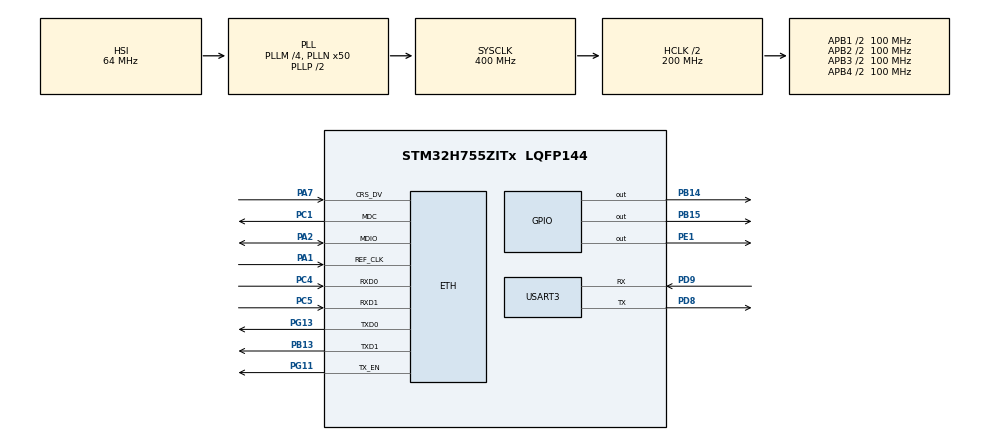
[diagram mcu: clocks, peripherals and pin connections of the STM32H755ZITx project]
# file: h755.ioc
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CortexM4.IPs=BDMA,CORTEX_M4\:I,DEBUG,DMA,FATFS_M4\:I,FREERTOS_M4\:I,GPIO,IWDG2\:I,MDMA,NVIC2\:I,OPENAMP_M4\:I,PDM2PCM_M4\:I,PWR,RCC,RESMGR_UTILITY,SYS_M4\:I,USB_DEVICE_M4\:I,USB_HOST_M4\:I,VREFBUF,WWDG2\:I
CortexM7.IPs=BDMA\:I,CORTEX_M7\:I,DEBUG\:I,DMA\:I,FATFS_M7\:I,FREERTOS_M7\:I,GPIO\:I,IWDG1\:I,MDMA\:I,NVIC1\:I,OPENAMP_M7\:I,PDM2PCM_M7\:I,PWR\:I,RCC\:I,RESMGR_UTILITY\:I,SYS\:I,USB_DEVICE_M7\:I,USB_HOST_M7\:I,VREFBUF\:I,WWDG1\:I,ETH\:I,USART3\:I,RNG\:I
ETH.MediaInterface=HAL_ETH_RMII_MODE
Mcu.Family=STM32H7
Mcu.Name=STM32H755ZITx
Mcu.Package=LQFP144
NVIC1.ETH_IRQn=true\:0\:0\:false\:false\:false\:true\:false\:true
NVIC1.PriorityGroup=NVIC_PRIORITYGROUP_4
NVIC2.PriorityGroup=NVIC_PRIORITYGROUP_4
PA1.Mode=RMII
PA1.PinAttribute=CortexM7
PA1.Signal=ETH_REF_CLK
PA2.Mode=RMII
PA2.PinAttribute=CortexM7
PA2.Signal=ETH_MDIO
PA7.Mode=RMII
PA7.PinAttribute=CortexM7
PA7.Signal=ETH_CRS_DV
PB13.Mode=RMII
PB13.PinAttribute=CortexM7
PB13.Signal=ETH_TXD1
PB14.PinAttribute=Free
PB14.Signal=GPIO_Output
PB15.PinAttribute=Free
PB15.Signal=GPIO_Output
PC1.Mode=RMII
PC1.PinAttribute=CortexM7
PC1.Signal=ETH_MDC
PC4.Mode=RMII
PC4.PinAttribute=CortexM7
PC4.Signal=ETH_RXD0
PC5.Mode=RMII
PC5.PinAttribute=CortexM7
PC5.Signal=ETH_RXD1
PD8.Mode=Asynchronous
PD8.PinAttribute=CortexM7
PD8.Signal=USART3_TX
PD9.Mode=Asynchronous
PD9.PinAttribute=CortexM7
PD9.Signal=USART3_RX
PE1.PinAttribute=Free
PE1.Signal=GPIO_Output
PG11.Mode=RMII
PG11.PinAttribute=CortexM7
PG11.Signal=ETH_TX_EN
PG13.Mode=RMII
PG13.PinAttribute=CortexM7
PG13.Signal=ETH_TXD0
ProjectManager.HeapSize=M4-0x200,M7-0x200
ProjectManager.StackSize=M4-0x400,M7-0x400
ProjectManager.TargetToolchain=STM32CubeIDE
RCC.ADCFreq_Value=129000000
RCC.APB1Freq_Value=100000000
RCC.APB2Freq_Value=100000000
RCC.APB3Freq_Value=100000000
RCC.APB4Freq_Value=100000000
RCC.CortexFreq_Value=400000000
RCC.D1PPRE=RCC_APB3_DIV2
RCC.D2PPRE1=RCC_APB1_DIV2
RCC.D2PPRE2=RCC_APB2_DIV2
RCC.D3PPRE=RCC_APB4_DIV2
RCC.DIVM1=4
RCC.DIVN1=50
RCC.HCLKFreq_Value=200000000
RCC.HPRE=RCC_HCLK_DIV2
RCC.PLL2FRACN=0
RCC.PLL3FRACN=0
RCC.PLLFRACN=0
RCC.SYSCLKFreq_VALUE=400000000
RCC.SYSCLKSource=RCC_SYSCLKSOURCE_PLLCLK
RCC.USBFreq_Value=400000000
SYS.userName=SYS_M7
USART3.VirtualMode-Asynchronous=VM_ASYNC
VP_RNG_VS_RNG.Mode=RNG_Activate
VP_SYS_M4_VS_Systick.Mode=SysTick
board=custom

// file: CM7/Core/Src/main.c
/* USER CODE BEGIN Header */
/**
  ******************************************************************************
  * @file           : main.c
  * @brief          : Main program body
  ******************************************************************************
  * @attention
  *
  * Copyright (c) 2024 STMicroelectronics.
  * All rights reserved.
  *
  * This software is licensed under terms that can be found in the LICENSE file
  * in the root directory of this software component.
  * If no LICENSE file comes with this software, it is provided AS-IS.
  *
  ******************************************************************************
  */
/* USER CODE END Header */
#include "main.h"
#include "string.h"

/* USER CODE BEGIN Includes */
#include "mongoose_glue.h"
/* USER CODE END Includes */

/* USER CODE BEGIN PD */

#ifndef HSEM_ID_0
#define HSEM_ID_0 (0U) /* HW semaphore 0*/
#endif

/* USER CODE END PD */

#if defined ( __ICCARM__ ) /*!< IAR Compiler */
#pragma location=0x30000000
ETH_DMADescTypeDef  DMARxDscrTab[ETH_RX_DESC_CNT]; /* Ethernet Rx DMA Descriptors */
#pragma location=0x30000080
ETH_DMADescTypeDef  DMATxDscrTab[ETH_TX_DESC_CNT]; /* Ethernet Tx DMA Descriptors */

#elif defined ( __CC_ARM )  /* MDK ARM Compiler */

__attribute__((at(0x30000000))) ETH_DMADescTypeDef  DMARxDscrTab[ETH_RX_DESC_CNT]; /* Ethernet Rx DMA Descriptors */
__attribute__((at(0x30000080))) ETH_DMADescTypeDef  DMATxDscrTab[ETH_TX_DESC_CNT]; /* Ethernet Tx DMA Descriptors */

#elif defined ( __GNUC__ ) /* GNU Compiler */

ETH_DMADescTypeDef DMARxDscrTab[ETH_RX_DESC_CNT] __attribute__((section(".RxDescripSection"))); /* Ethernet Rx DMA Descriptors */
ETH_DMADescTypeDef DMATxDscrTab[ETH_TX_DESC_CNT] __attribute__((section(".TxDescripSection")));   /* Ethernet Tx DMA Descriptors */
#endif

ETH_TxPacketConfig TxConfig;

ETH_HandleTypeDef heth;

RNG_HandleTypeDef hrng;

UART_HandleTypeDef huart3;

void SystemClock_Config(void);
static void MX_GPIO_Init(void);
static void MX_ETH_Init(void);
static void MX_RNG_Init(void);
static void MX_USART3_UART_Init(void);

/* USER CODE BEGIN 0 */
static void my_get_leds(struct leds *data) {
  data->led1 = HAL_GPIO_ReadPin(GPIOB, GPIO_PIN_0) == GPIO_PIN_SET;
  data->led2 = HAL_GPIO_ReadPin(GPIOE, GPIO_PIN_1) == GPIO_PIN_SET;
}

static void my_set_leds(struct leds *data) {
  HAL_GPIO_WritePin(GPIOB, GPIO_PIN_0, data->led1 ? GPIO_PIN_SET : GPIO_PIN_RESET);
  HAL_GPIO_WritePin(GPIOE, GPIO_PIN_1, data->led2 ? GPIO_PIN_SET : GPIO_PIN_RESET);
}

bool mg_random(void *buf, size_t len) {  // Use on-board RNG
  for (size_t n = 0; n < len; n += sizeof(uint32_t)) {
    uint32_t r;
    HAL_RNG_GenerateRandomNumber(&hrng, &r);
    memcpy((char *) buf + n, &r, n + sizeof(r) > len ? len - n : sizeof(r));
  }
  return true; // TODO(): ensure successful RNG init, then return on false above
}

uint64_t mg_millis(void) {
  return HAL_GetTick();
}

int _write(int fd, unsigned char *buf, int len) {
  if (fd == 1 || fd == 2) {                     // stdout or stderr ?
    HAL_UART_Transmit(&huart3, buf, len, 999);  // Print to the UART
  }
  return len;
}

static void log_fn(char ch, void *param) {
  HAL_UART_Transmit(param, (unsigned char *) &ch, 1, HAL_MAX_DELAY);
}
/* USER CODE END 0 */

int main(void)
{

/* USER CODE BEGIN Boot_Mode_Sequence_0 */
  int32_t timeout;
/* USER CODE END Boot_Mode_Sequence_0 */

/* USER CODE BEGIN Boot_Mode_Sequence_1 */
  /* Wait until CPU2 boots and enters in stop mode or timeout*/
  timeout = 0xFFFF;
  while((__HAL_RCC_GET_FLAG(RCC_FLAG_D2CKRDY) != RESET) && (timeout-- > 0));
  if ( timeout < 0 )
  {
  Error_Handler();
  }
/* USER CODE END Boot_Mode_Sequence_1 */
  /* MCU Configuration--------------------------------------------------------*/

  /* Reset of all peripherals, Initializes the Flash interface and the Systick. */
  HAL_Init();

  /* Configure the system clock */
  SystemClock_Config();
/* USER CODE BEGIN Boot_Mode_Sequence_2 */
/* When system initialization is finished, Cortex-M7 will release Cortex-M4 by means of
HSEM notification */
/*HW semaphore Clock enable*/
__HAL_RCC_HSEM_CLK_ENABLE();
/*Take HSEM */
HAL_HSEM_FastTake(HSEM_ID_0);
/*Release HSEM in order to notify the CPU2(CM4)*/
HAL_HSEM_Release(HSEM_ID_0,0);
/* wait until CPU2 wakes up from stop mode */
timeout = 0xFFFF;
while((__HAL_RCC_GET_FLAG(RCC_FLAG_D2CKRDY) == RESET) && (timeout-- > 0));
if ( timeout < 0 )
{
Error_Handler();
}
/* USER CODE END Boot_Mode_Sequence_2 */

  /* Initialize all configured peripherals */
  MX_GPIO_Init();
  MX_ETH_Init();
  MX_RNG_Init();
  MX_USART3_UART_Init();
  /* USER CODE BEGIN 2 */
  mg_log_set_fn(log_fn, &huart3);
  mongoose_init();
  mongoose_set_http_handlers("leds", my_get_leds, my_set_leds);
  for (;;) {
    mongoose_poll();
  }
  /* USER CODE END 2 */

  /* Infinite loop */
  while (1)
  {

  }
}

void SystemClock_Config(void)
{
  RCC_OscInitTypeDef RCC_OscInitStruct = {0};
  RCC_ClkInitTypeDef RCC_ClkInitStruct = {0};

  /** Supply configuration update enable
  */
  HAL_PWREx_ConfigSupply(PWR_DIRECT_SMPS_SUPPLY);

  /** Configure the main internal regulator output voltage
  */
  __HAL_PWR_VOLTAGESCALING_CONFIG(PWR_REGULATOR_VOLTAGE_SCALE1);

  while(!__HAL_PWR_GET_FLAG(PWR_FLAG_VOSRDY)) {}

  /** Initializes the RCC Oscillators according to the specified parameters
  * in the RCC_OscInitTypeDef structure.
  */
  RCC_OscInitStruct.OscillatorType = RCC_OSCILLATORTYPE_HSI48|RCC_OSCILLATORTYPE_HSI;
  RCC_OscInitStruct.HSIState = RCC_HSI_DIV1;
  RCC_OscInitStruct.HSICalibrationValue = RCC_HSICALIBRATION_DEFAULT;
  RCC_OscInitStruct.HSI48State = RCC_HSI48_ON;
  RCC_OscInitStruct.PLL.PLLState = RCC_PLL_ON;
  RCC_OscInitStruct.PLL.PLLSource = RCC_PLLSOURCE_HSI;
  RCC_OscInitStruct.PLL.PLLM = 4;
  RCC_OscInitStruct.PLL.PLLN = 50;
  RCC_OscInitStruct.PLL.PLLP = 2;
  RCC_OscInitStruct.PLL.PLLQ = 2;
  RCC_OscInitStruct.PLL.PLLR = 2;
  RCC_OscInitStruct.PLL.PLLRGE = RCC_PLL1VCIRANGE_3;
  RCC_OscInitStruct.PLL.PLLVCOSEL = RCC_PLL1VCOWIDE;
  RCC_OscInitStruct.PLL.PLLFRACN = 0;
  if (HAL_RCC_OscConfig(&RCC_OscInitStruct) != HAL_OK)
  {
    Error_Handler();
  }

  /** Initializes the CPU, AHB and APB buses clocks
  */
  RCC_ClkInitStruct.ClockType = RCC_CLOCKTYPE_HCLK|RCC_CLOCKTYPE_SYSCLK
                              |RCC_CLOCKTYPE_PCLK1|RCC_CLOCKTYPE_PCLK2
                              |RCC_CLOCKTYPE_D3PCLK1|RCC_CLOCKTYPE_D1PCLK1;
  RCC_ClkInitStruct.SYSCLKSource = RCC_SYSCLKSOURCE_PLLCLK;
  RCC_ClkInitStruct.SYSCLKDivider = RCC_SYSCLK_DIV1;
  RCC_ClkInitStruct.AHBCLKDivider = RCC_HCLK_DIV2;
  RCC_ClkInitStruct.APB3CLKDivider = RCC_APB3_DIV2;
  RCC_ClkInitStruct.APB1CLKDivider = RCC_APB1_DIV2;
  RCC_ClkInitStruct.APB2CLKDivider = RCC_APB2_DIV2;
  RCC_ClkInitStruct.APB4CLKDivider = RCC_APB4_DIV2;

  if (HAL_RCC_ClockConfig(&RCC_ClkInitStruct, FLASH_LATENCY_2) != HAL_OK)
  {
    Error_Handler();
  }
}

static void MX_ETH_Init(void)
{

   static uint8_t MACAddr[6];

  heth.Instance = ETH;
  MACAddr[0] = 0x00;
  MACAddr[1] = 0x80;
  MACAddr[2] = 0xE1;
  MACAddr[3] = 0x00;
  MACAddr[4] = 0x00;
  MACAddr[5] = 0x00;
  heth.Init.MACAddr = &MACAddr[0];
  heth.Init.MediaInterface = HAL_ETH_RMII_MODE;
  heth.Init.TxDesc = DMATxDscrTab;
  heth.Init.RxDesc = DMARxDscrTab;
  heth.Init.RxBuffLen = 1536;

  if (HAL_ETH_Init(&heth) != HAL_OK)
  {
    Error_Handler();
  }

  memset(&TxConfig, 0 , sizeof(ETH_TxPacketConfig));
  TxConfig.Attributes = ETH_TX_PACKETS_FEATURES_CSUM | ETH_TX_PACKETS_FEATURES_CRCPAD;
  TxConfig.ChecksumCtrl = ETH_CHECKSUM_IPHDR_PAYLOAD_INSERT_PHDR_CALC;
  TxConfig.CRCPadCtrl = ETH_CRC_PAD_INSERT;

}

static void MX_RNG_Init(void)
{

  hrng.Instance = RNG;
  hrng.Init.ClockErrorDetection = RNG_CED_ENABLE;
  if (HAL_RNG_Init(&hrng) != HAL_OK)
  {
    Error_Handler();
  }

}

static void MX_USART3_UART_Init(void)
{

  huart3.Instance = USART3;
  huart3.Init.BaudRate = 115200;
  huart3.Init.WordLength = UART_WORDLENGTH_8B;
  huart3.Init.StopBits = UART_STOPBITS_1;
  huart3.Init.Parity = UART_PARITY_NONE;
  huart3.Init.Mode = UART_MODE_TX_RX;
  huart3.Init.HwFlowCtl = UART_HWCONTROL_NONE;
  huart3.Init.OverSampling = UART_OVERSAMPLING_16;
  huart3.Init.OneBitSampling = UART_ONE_BIT_SAMPLE_DISABLE;
  huart3.Init.ClockPrescaler = UART_PRESCALER_DIV1;
  huart3.AdvancedInit.AdvFeatureInit = UART_ADVFEATURE_NO_INIT;
  if (HAL_UART_Init(&huart3) != HAL_OK)
  {
    Error_Handler();
  }
  if (HAL_UARTEx_SetTxFifoThreshold(&huart3, UART_TXFIFO_THRESHOLD_1_8) != HAL_OK)
  {
    Error_Handler();
  }
  if (HAL_UARTEx_SetRxFifoThreshold(&huart3, UART_RXFIFO_THRESHOLD_1_8) != HAL_OK)
  {
    Error_Handler();
  }
  if (HAL_UARTEx_DisableFifoMode(&huart3) != HAL_OK)
  {
    Error_Handler();
  }

}

static void MX_GPIO_Init(void)
{

  /* GPIO Ports Clock Enable */
  __HAL_RCC_GPIOC_CLK_ENABLE();
  __HAL_RCC_GPIOA_CLK_ENABLE();
  __HAL_RCC_GPIOB_CLK_ENABLE();
  __HAL_RCC_GPIOD_CLK_ENABLE();
  __HAL_RCC_GPIOG_CLK_ENABLE();

  /* USER CODE BEGIN MX_GPIO_Init_2 */
  GPIO_InitTypeDef GPIO_InitStruct = {0};

  __HAL_RCC_GPIOE_CLK_ENABLE();

  /* LED1 (PB0) and LED2 (PE1) are active high. */
  HAL_GPIO_WritePin(GPIOB, GPIO_PIN_0, GPIO_PIN_RESET);
  HAL_GPIO_WritePin(GPIOE, GPIO_PIN_1, GPIO_PIN_RESET);

  GPIO_InitStruct.Pin = GPIO_PIN_0;
  GPIO_InitStruct.Mode = GPIO_MODE_OUTPUT_PP;
  GPIO_InitStruct.Pull = GPIO_NOPULL;
  GPIO_InitStruct.Speed = GPIO_SPEED_FREQ_LOW;
  HAL_GPIO_Init(GPIOB, &GPIO_InitStruct);

  GPIO_InitStruct.Pin = GPIO_PIN_1;
  HAL_GPIO_Init(GPIOE, &GPIO_InitStruct);
  /* USER CODE END MX_GPIO_Init_2 */
}

void Error_Handler(void)
{
  __disable_irq();
  while (1)
  {
  }
}
